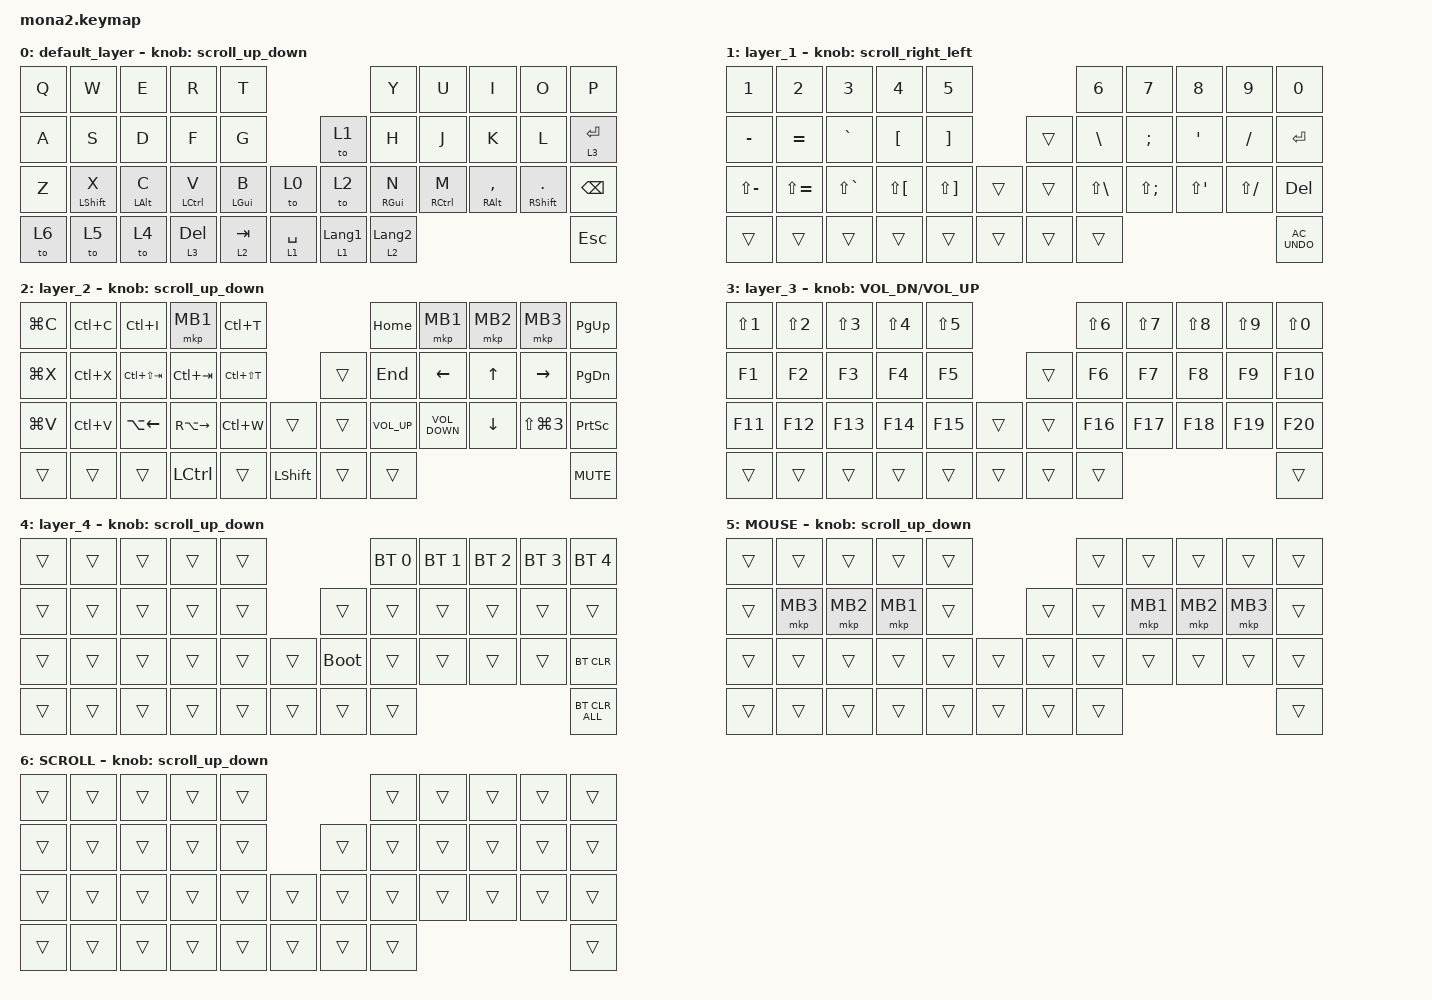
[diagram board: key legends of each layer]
#include <input/processors.dtsi>
#include <dt-bindings/zmk/input_transform.h>
#include <zephyr/dt-bindings/input/input-event-codes.h>
#include <behaviors.dtsi>
#include <dt-bindings/zmk/bt.h>
#include <dt-bindings/zmk/keys.h>
#include <dt-bindings/zmk/pointing.h>

#define ZMK_POINTING_DEFAULT_SCRL_VAL 100
#define MOUSE 5
#define SCROLL 6

&mt {
    flavor = "balanced";
    quick-tap-ms = <0>;
};

&lt {
    quick-tap-ms = <300>;
    flavor = "balanced";
};

/ {
    combos {
        compatible = "zmk,combos";

        layer4_ESC {
            bindings = <&lt 4 ESC>;
            key-positions = <39 38>;
        };

        tab {
            bindings = <&kp TAB>;
            key-positions = <11 12>;
        };
    };

    macros {
        to_layer_0: to_layer_0 {
            compatible = "zmk,behavior-macro-one-param";
            #binding-cells = <1>;
            bindings = <&to 0 &macro_param_1to1 &kp MACRO_PLACEHOLDER>;
            label = "TO_LAYER_0";
        };
    };

    behaviors {
        lt_to_layer_0: lt_to_layer_0 {
            compatible = "zmk,behavior-hold-tap";
            label = "LAYER_TAP_TO_0";
            bindings = <&mo>, <&to_layer_0>;

            #binding-cells = <2>;
            tapping-term-ms = <200>;
        };

        scroll_up_down: mouse_wheel_up_down {
            compatible = "zmk,behavior-sensor-rotate";
            #sensor-binding-cells = <0>;
            bindings = <&msc SCRL_DOWN>, <&msc SCRL_UP>;

            tap-ms = <20>;
        };

        scroll_right_left: mouse_wheel_right_left {
            compatible = "zmk,behavior-sensor-rotate";
            #sensor-binding-cells = <0>;
            bindings = <&msc SCRL_LEFT>, <&msc SCRL_RIGHT>;

            tap-ms = <20>;
        };
    };

    keymap {
        compatible = "zmk,keymap";

        default_layer {
            bindings = <
&kp Q  &kp W             &kp E           &kp R               &kp T                                            &kp Y             &kp U        &kp I                &kp O                   &kp P
&kp A  &kp S             &kp D           &kp F               &kp G                          &to 1             &kp H             &kp J        &kp K                &kp L                   &lt 3 ENTER
&kp Z  &mt LEFT_SHIFT X  &mt LEFT_ALT C  &mt LEFT_CONTROL V  &mt LEFT_GUI B  &to 0          &to 2             &mt RIGHT_GUI N   &mt RCTRL M  &mt RIGHT_ALT COMMA  &mt RIGHT_SHIFT PERIOD  &kp BACKSPACE
&to 6  &to 5             &to 4           &lt 3 DELETE        &lt 2 TAB       &lt 1 SPACE    &lt 1 LANGUAGE_1  &lt 2 LANGUAGE_2                                                            &kp ESCAPE
            >;

            sensor-bindings = <&scroll_up_down>;
        };

        layer_1 {
            bindings = <
&kp NUMBER_1   &kp NUMBER_2   &kp NUMBER_3   &kp NUMBER_4          &kp NUMBER_5                             &kp NUMBER_6       &kp NUMBER_7       &kp NUMBER_8  &kp NUMBER_9   &kp NUMBER_0
&kp MINUS      &kp EQUAL      &kp GRAVE      &kp LEFT_BRACKET      &kp RIGHT_BRACKET                &trans  &kp BACKSLASH      &kp SEMICOLON      &kp SQT       &kp SLASH      &kp ENTER
&kp LS(MINUS)  &kp LS(EQUAL)  &kp LS(GRAVE)  &kp LS(LEFT_BRACKET)  &kp LS(RIGHT_BRACKET)  &trans    &trans  &kp LS(BACKSLASH)  &kp LS(SEMICOLON)  &kp LS(SQT)   &kp LS(SLASH)  &kp DELETE
&trans         &trans         &trans         &trans                &trans                 &trans    &trans  &trans                                                             &kp C_AC_UNDO
            >;

            sensor-bindings = <&scroll_right_left>;
        };

        layer_2 {
            bindings = <
&kp LG(C)  &kp LC(C)  &kp LC(I)           &mkp MB1             &kp LC(T)                                &kp HOME         &mkp MB1           &mkp MB2        &mkp MB3              &kp PAGE_UP
&kp LG(X)  &kp LC(X)  &kp LC(LS(TAB))     &kp LC(TAB)          &kp LC(LS(T))                    &trans  &kp END          &kp LEFT_ARROW     &kp UP_ARROW    &kp RIGHT_ARROW       &kp PAGE_DOWN
&kp LG(V)  &kp LC(V)  &kp LA(LEFT_ARROW)  &kp RA(RIGHT_ARROW)  &kp LC(W)      &trans            &trans  &kp C_VOLUME_UP  &kp C_VOLUME_DOWN  &kp DOWN_ARROW  &kp LS(LG(NUMBER_3))  &kp PRINTSCREEN
&trans     &trans     &trans              &kp LCTRL            &trans         &kp LEFT_SHIFT    &trans  &trans                                                                    &kp C_MUTE
            >;

            sensor-bindings = <&scroll_up_down>;
        };

        layer_3 {
            bindings = <
&kp LS(NUMBER_1)  &kp LS(NUMBER_2)  &kp LS(NUMBER_3)  &kp LS(NUMBER_4)  &kp LS(NUMBER_5)                    &kp LS(NUMBER_6)  &kp LS(NUMBER_7)  &kp LS(NUMBER_8)  &kp LS(NUMBER_9)  &kp LS(NUMBER_0)
&kp F1            &kp F2            &kp F3            &kp F4            &kp F5                      &trans  &kp F6            &kp F7            &kp F8            &kp F9            &kp F10
&kp F11           &kp F12           &kp F13           &kp F14           &kp F15           &trans    &trans  &kp F16           &kp F17           &kp F18           &kp F19           &kp F20
&trans            &trans            &trans            &trans            &trans            &trans    &trans  &trans                                                                  &trans
            >;

            sensor-bindings = <&inc_dec_kp C_VOL_DN C_VOL_UP>;
        };

        layer_4 {
            bindings = <
&trans  &trans  &trans  &trans  &trans                         &bt BT_SEL 0  &bt BT_SEL 1  &bt BT_SEL 2  &bt BT_SEL 3  &bt BT_SEL 4
&trans  &trans  &trans  &trans  &trans            &trans       &trans        &trans        &trans        &trans        &trans
&trans  &trans  &trans  &trans  &trans  &trans    &bootloader  &trans        &trans        &trans        &trans        &bt BT_CLR
&trans  &trans  &trans  &trans  &trans  &trans    &trans       &trans                                                  &bt BT_CLR_ALL
            >;

            sensor-bindings = <&scroll_up_down>;
        };

        MOUSE {
            bindings = <
&trans  &trans    &trans    &trans    &trans                    &trans  &trans    &trans    &trans    &trans
&trans  &mkp MB3  &mkp MB2  &mkp MB1  &trans            &trans  &trans  &mkp MB1  &mkp MB2  &mkp MB3  &trans
&trans  &trans    &trans    &trans    &trans  &trans    &trans  &trans  &trans    &trans    &trans    &trans
&trans  &trans    &trans    &trans    &trans  &trans    &trans  &trans                                &trans
            >;

            sensor-bindings = <&scroll_up_down>;
        };

        SCROLL {
            bindings = <
&trans  &trans  &trans  &trans  &trans                    &trans  &trans  &trans  &trans  &trans
&trans  &trans  &trans  &trans  &trans            &trans  &trans  &trans  &trans  &trans  &trans
&trans  &trans  &trans  &trans  &trans  &trans    &trans  &trans  &trans  &trans  &trans  &trans
&trans  &trans  &trans  &trans  &trans  &trans    &trans  &trans                          &trans
            >;

            sensor-bindings = <&scroll_up_down>;
        };
    };
};
